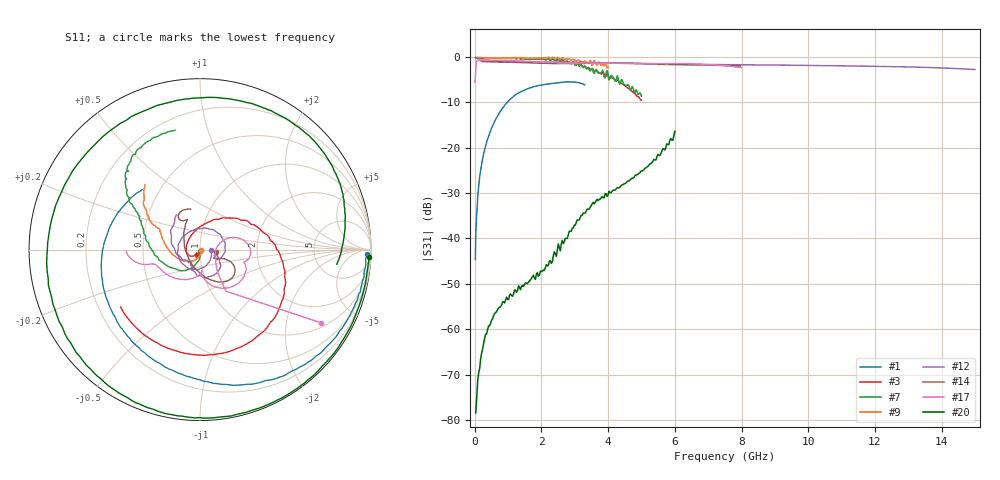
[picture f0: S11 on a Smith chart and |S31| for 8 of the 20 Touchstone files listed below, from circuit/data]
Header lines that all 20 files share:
!Hittite Microwave Corporation
# MHZ S MA R 50
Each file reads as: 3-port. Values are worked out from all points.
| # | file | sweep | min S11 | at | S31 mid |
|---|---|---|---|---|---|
| 1 | HMC154S8_all_OFF_5V_deembedded.s3p | 20 MHz to 3.3 GHz | -6.2 dB | 3.3 GHz | -6.9 dB at 1.66 GHz |
| 2 | HMC154S8_rf2_selected_5V_deembedded.s3p | 20 MHz to 3.3 GHz | -37.1 dB | 52.8 MHz | -0.6 dB at 1.66 GHz |
| 3 | HMC174MS8_rf2_selected_3V_deembedded.s3p | 30 MHz to 5 GHz | -31.4 dB | 129.4 MHz | -0.6 dB at 2.515 GHz |
| 4 | HMC174MS8_rf2_selected_5V_deembedded.s3p | 30 MHz to 5 GHz | -31.4 dB | 129.4 MHz | -0.6 dB at 2.515 GHz |
| 5 | HMC190MS8_rf2_selected_deembedded.s3p | 50 MHz to 4 GHz | -40.0 dB | 899.2 MHz | -0.5 dB at 2.025 GHz |
| 6 | HMC194MS8_rf2_selected_deembedded.s3p | 90 MHz to 4 GHz | -28.0 dB | 90 MHz | -0.8 dB at 2.045 GHz |
| 7 | HMC195_rf2_selected_deembedded.s3p | 30 MHz to 5 GHz | -41.4 dB | 30 MHz | -0.5 dB at 2.515 GHz |
| 8 | HMC197_rf2_selected_deembedded.s3p | 30 MHz to 5.03 GHz | -38.4 dB | 30 MHz | -0.4 dB at 2.53 GHz |
| 9 | HMC221_rf2_selected_deembedded.s3p | 90 MHz to 4 GHz | -53.8 dB | 148.7 MHz | -0.3 dB at 2.045 GHz |
| 10 | HMC224MS8_rf2_selected_deembedded.s3p | 2 GHz to 8 GHz | -11.5 dB | 5.485 GHz | -1.3 dB at 5.018 GHz |
| 11 | HMC226_rf2_selected_deembedded.s3p | 30 MHz to 6 GHz | -34.4 dB | 1.463 GHz | -1.4 dB at 3.015 GHz |
| 12 | HMC232_rf2_selected_deembedded.s3p | 150 MHz to 15 GHz | -23.7 dB | 150 MHz | -1.8 dB at 7.575 GHz |
| 13 | HMC232C8_rf2_selected_deembedded.s3p | 100 MHz to 8 GHz | -22.7 dB | 179 MHz | -1.3 dB at 4.05 GHz |
| 14 | HMC234C8_rf2_selected_deembedded.s3p | 200 MHz to 7.96 GHz | -21.8 dB | 4.265 GHz | -1.3 dB at 4.101 GHz |
| 15 | HMC240_rf2_selected_deembedded.s3p | 180 MHz to 3.98 GHz | -30.2 dB | 180 MHz | -0.6 dB at 2.08 GHz |
| 16 | HMC270MS8G_rf2_selected_deembedded.s3p | 10 MHz to 10 GHz | -34.9 dB | 4.855 GHz | -1.0 dB at 5.035 GHz |
| 17 | Hmc336ms8g_rf2_selected_de_emb.s3p | 10 MHz to 8 GHz | -20.8 dB | 489.4 MHz | -1.4 dB at 4.005 GHz |
| 18 | HMC347_rf2_selected_deembedded.s3p | 10 MHz to 25 GHz | -33.6 dB | 19 GHz | -1.9 dB at 12.51 GHz |
| 19 | HMC347LP3_rf2_selected_deembedded.s3p | 10 MHz to 20 GHz | -20.7 dB | 11.3 GHz | -1.5 dB at 10.01 GHz |
| 20 | HMC348LP3_deembedded_all_off.s3p | 30 MHz to 6 GHz | -1.9 dB | 6 GHz | -37.1 dB at 3.015 GHz |
